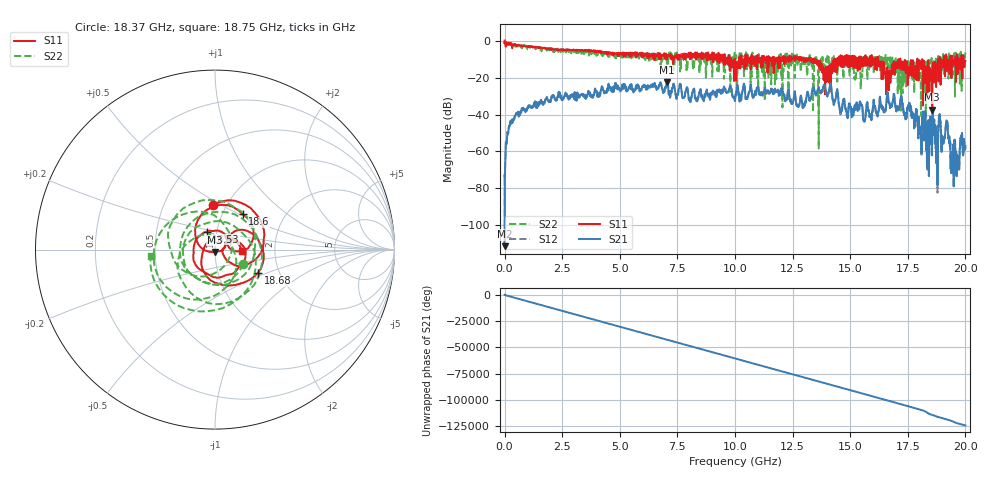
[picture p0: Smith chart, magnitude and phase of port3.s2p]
! MS46122B
! 2250307/22442219
! 2/18/2026 2:15:45 PM
! C:\USERS\SPARKY\DOCUMENTS\VNA_DATA\FEB18_2026\7K2\PORT3.S2P
! CHANNEL.1
! TR.MEASUREMENT
! RAW.DATA
# GHZ S RI R 50.0
! FREQ.GHZ  S11RE  S11IM  S21RE  S21IM  S12RE  S12IM  S22RE  S22IM
!; PortSelection: Port_12
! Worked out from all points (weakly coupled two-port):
!   10001 points, 1 MHz to 20 GHz, reference 50 ohm
!   highest |S21| = -22.36 dB at 7.045 GHz (marker M1); lowest = -111.5 dB at 1 MHz (marker M2)
!   lowest |S11| = -37.3 dB at 18.56 GHz (marker M3), VSWR 1.03, Z = 50 - j1.37 ohm
!   |S11| at or under -10 dB: 13.5 GHz to 14.31 GHz (811.9 MHz wide, 5.84 % of centre); 16.22 GHz to 17.08 GHz (862.5 MHz wide, 5.18 % of centre); 17.18 GHz to 17.9 GHz (721.3 MHz wide, 4.11 % of centre) (the widest 3 of 107)
!   |S22| runs from -58.4 to -0.1 dB; largest |S21 - S12| = 0.0077
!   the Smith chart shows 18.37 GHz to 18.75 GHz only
!   S11 on the Smith chart (normalised r, x): 18.37 GHz: 0.86, +0.46; 18.53 GHz: 0.89, +0.18; 18.6 GHz: 1.24, +0.52; 18.68 GHz: 1.55, -0.43; 18.75 GHz: 1.36, -0.02
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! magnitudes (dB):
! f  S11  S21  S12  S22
! 1 MHz  0.4  -111.5  -103.3  -0.1
! 153 MHz  -1.2  -50.2  -50.5  -1.9
! 495 MHz  -2.3  -39.5  -39.6  -2.3
! 3.335 GHz  -4.7  -29.1  -29.0  -6.9
! 6.669 GHz  -6.5  -25.7  -25.7  -10.1
! 7.045 GHz  -9.9  -22.4  -22.3  -12.4
! 10 GHz  -9.5  -32.5  -32.0  -7.5
! 13.33 GHz  -11.3  -28.0  -28.5  -14.2
! 13.94 GHz  -14.3  -26.6  -26.4  -10.3
! 15.61 GHz  -10.4  -43.2  -43.3  -11.5
! 16.67 GHz  -26.4  -33.4  -33.5  -11.0
! 17.22 GHz  -15.5  -29.8  -29.7  -16.8
! 18.37 GHz  -12.0  -44.2  -43.9  -15.1
! 18.53 GHz  -19.1  -44.7  -44.5  -9.3
! 18.56 GHz  -37.3  -41.0  -40.9  -15.6
! 18.6 GHz  -12.0  -43.4  -43.5  -11.2
! 18.68 GHz  -11.3  -46.6  -46.5  -16.1
! 18.75 GHz  -16.4  -57.2  -57.0  -8.9
! 19.21 GHz  -15.5  -44.2  -44.3  -9.0
! 19.4 GHz  -14.8  -61.6  -62.2  -9.5
! 19.66 GHz  -11.9  -62.5  -62.4  -9.8
! 20 GHz  -10.7  -56.9  -57.6  -6.1
